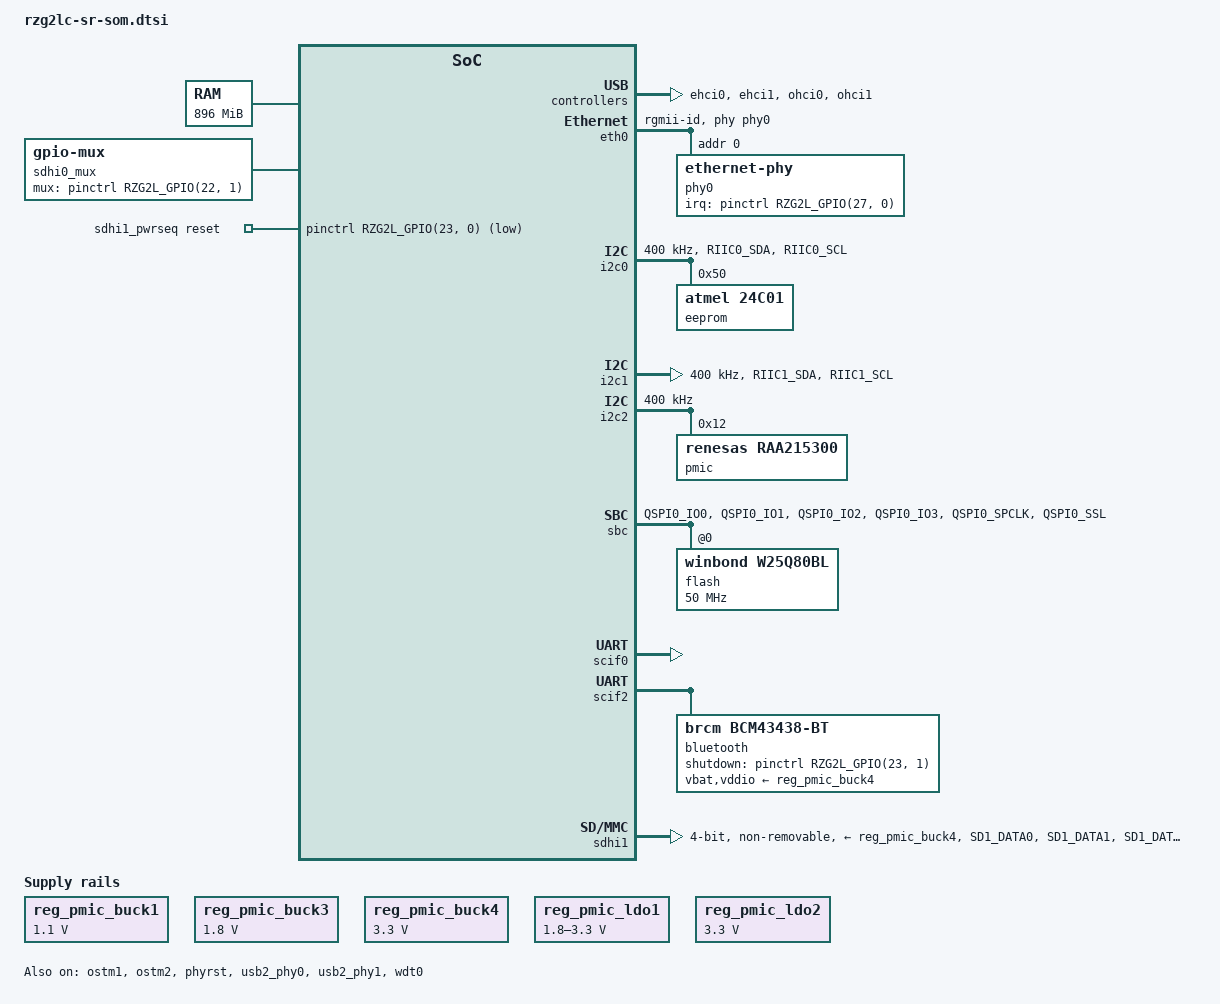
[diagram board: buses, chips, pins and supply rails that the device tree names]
// SPDX-License-Identifier: (GPL-2.0-only OR BSD-2-Clause)
/*
 * Device Tree Source for the RZ/G2LC Solidrun SOM
 *
 * Copyright 2023 SolidRun Ltd.
 * Copyright 2025 Josua Mayer <josua@solid-run.com>
 */

#include <dt-bindings/gpio/gpio.h>
#include <dt-bindings/pinctrl/rzg2l-pinctrl.h>

/ {
	aliases {
		ethernet0 = &eth0;
		i2c0 = &i2c0;
		i2c1 = &i2c1;
		i2c2 = &i2c2;
		mmc0 = &sdhi0;
		mmc1 = &sdhi1;
		rtc0 = &pmic;
		serial0 = &scif0;
		serial1 = &scif1;
		serial2 = &scif2;
	};

	chosen {
		stdout-path = "serial0:115200n8";
	};

	memory@48000000 {
		/*
		 * Physical RAM starts at 0x40000000, but Renesas RZ/G2 BSPs
		 * reserve and hide the first 128MB for TrustZone by default.
		 *
		 * Minimum size for this SoM is 1GB, and the bootloader patches
		 * the dtb according to the actual RAM size and reservations.
		 */
		reg = <0x0 0x48000000 0x0 0x38000000>;
		device_type = "memory";
	};

	sdhi0_mux: mux-controller-0 {
		compatible = "gpio-mux";
		#mux-control-cells = <0>;
		#mux-state-cells = <1>;
		/*
		 * Mux switches SD0_DATA[0-3], SD0_CMD & SD0_CLK between
		 * on-SoM eMMC and board-to-board connector using one gpio:
		 * High = connector, Low = eMMC.
		 * Define active-high for logical mux state 0 = eMMC, 1 = connector.
		 */
		mux-gpios = <&pinctrl RZG2L_GPIO(22, 1) GPIO_ACTIVE_HIGH>;
	};

	reg_pmic_buck1: regulator-pmic-buck1 {
		compatible = "regulator-fixed";
		regulator-name = "pmic-buck1";
		regulator-always-on;
		regulator-boot-on;
		regulator-max-microvolt = <1100000>;
		regulator-min-microvolt = <1100000>;
	};

	reg_pmic_buck3: regulator-pmic-buck3 {
		compatible = "regulator-fixed";
		regulator-name = "pmic-buck3";
		regulator-always-on;
		regulator-boot-on;
		regulator-max-microvolt = <1800000>;
		regulator-min-microvolt = <1800000>;
	};

	reg_pmic_buck4: regulator-pmic-buck4 {
		compatible = "regulator-fixed";
		regulator-name = "pmic-buck4";
		regulator-always-on;
		regulator-boot-on;
		regulator-max-microvolt = <3300000>;
		regulator-min-microvolt = <3300000>;
	};

	reg_pmic_ldo1: regulator-pmic-ldo1 {
		compatible = "regulator-gpio";
		regulator-name = "pmic-ldo1";
		gpios = <&pinctrl RZG2L_GPIO(39, 0) GPIO_ACTIVE_HIGH>;
		regulator-always-on;
		regulator-boot-on;
		regulator-max-microvolt = <3300000>;
		regulator-min-microvolt = <1800000>;
		states = <3300000 1>, <1800000 0>;
	};

	reg_pmic_ldo2: regulator-pmic-ldo2 {
		compatible = "regulator-fixed";
		regulator-name = "pmic-ldo2";
		/*
		 * This ldo can switch mmc host controller io voltage between
		 * 1.8V and 3.3V by assembly option of pull-up / pull-dow.
		 * Default assembly is 3.3V.
		 */
		regulator-min-microvolt = <3300000>;
		regulator-always-on;
		regulator-boot-on;
		regulator-max-microvolt = <3300000>;
	};

	reserved-memory {
		ranges;
		#address-cells = <2>;
		#size-cells = <2>;

		global_cma: linux,cma@58000000 {
			compatible = "shared-dma-pool";
			reg = <0x0 0x58000000 0x0 0x10000000>;
			reusable;
			linux,cma-default;
		};
	};

	sdhi1_pwrseq: sdhi1-pwrseq {
		compatible = "mmc-pwrseq-simple";
		reset-gpios = <&pinctrl RZG2L_GPIO(23, 0) GPIO_ACTIVE_LOW>;
	};

	/* 32.768kHz crystal */
	x2: x2-clock {
		compatible = "fixed-clock";
		#clock-cells = <0>;
		clock-frequency = <32768>;
	};
};

&ehci0 {
	status = "okay";
};

&ehci1 {
	status = "okay";
};

&eth0 {
	phy-handle = <&phy0>;
	pinctrl-0 = <&eth0_pins>;
	pinctrl-names = "default";
	/*
	 * ravb driver does not configure mac internal delays for RZ/G2L(C),
	 * instead delays are added by the ADIN1200 phy driver.
	 */
	phy-mode = "rgmii-id";
	status = "okay";

	phy0: ethernet-phy@0 {
		reg = <0>;
		/* Level interrupts are typical for phy but not supported on RZ/G2L gpios. */
		interrupts-extended = <&pinctrl RZG2L_GPIO(27, 0) IRQ_TYPE_EDGE_FALLING>;
	};
};

&extal_clk {
	clock-frequency = <24000000>;
};

&gpu {
	mali-supply = <&reg_pmic_buck1>;
};

&i2c0 {
	clock-frequency = <400000>;
	pinctrl-0 = <&i2c0_pins>;
	pinctrl-names = "default";
	status = "okay";

	eeprom: eeprom@50 {
		compatible = "atmel,24c01";
		reg = <0x50>;
		pagesize = <16>;
	};
};

&i2c1 {
	clock-frequency = <400000>;
	pinctrl-0 = <&i2c1_pins>;
	pinctrl-names = "default";
	status = "okay";
};

&i2c2 {
	clock-frequency = <400000>;
	pinctrl-0 = <&i2c2_pins>;
	pinctrl-names = "default";
	status = "okay";

	pmic: pmic@12 {
		compatible = "renesas,raa215300";
		reg = <0x12>, <0x6f>;
		reg-names = "main", "rtc";
		clocks = <&x2>;
		clock-names = "xin";
	};
};

&ohci0 {
	status = "okay";
};

&ohci1 {
	status = "okay";
};

&ostm1 {
	status = "okay";
};

&ostm2 {
	status = "okay";
};

&phyrst {
	status = "okay";
};

&pinctrl {
	eth0_pins: eth0 {
		pinmux = <RZG2L_PORT_PINMUX(28, 1, 1)>, /* ET0_LINKSTA */
			 <RZG2L_PORT_PINMUX(27, 1, 1)>, /* ET0_MDC */
			 <RZG2L_PORT_PINMUX(28, 0, 1)>, /* ET0_MDIO */
			 <RZG2L_PORT_PINMUX(20, 0, 1)>, /* ET0_TXC */
			 <RZG2L_PORT_PINMUX(20, 1, 1)>, /* ET0_TX_CTL */
			 <RZG2L_PORT_PINMUX(20, 2, 1)>, /* ET0_TXD0 */
			 <RZG2L_PORT_PINMUX(21, 0, 1)>, /* ET0_TXD1 */
			 <RZG2L_PORT_PINMUX(21, 1, 1)>, /* ET0_TXD2 */
			 <RZG2L_PORT_PINMUX(22, 0, 1)>, /* ET0_TXD3 */
			 <RZG2L_PORT_PINMUX(24, 0, 1)>, /* ET0_RXC */
			 <RZG2L_PORT_PINMUX(24, 1, 1)>, /* ET0_RX_CTL */
			 <RZG2L_PORT_PINMUX(25, 0, 1)>, /* ET0_RXD0 */
			 <RZG2L_PORT_PINMUX(25, 1, 1)>, /* ET0_RXD1 */
			 <RZG2L_PORT_PINMUX(26, 0, 1)>, /* ET0_RXD2 */
			 <RZG2L_PORT_PINMUX(26, 1, 1)>; /* ET0_RXD3 */
	};

	i2c0_pins: i2c0 {
		input-enable;
		pins = "RIIC0_SDA", "RIIC0_SCL";
	};

	i2c1_pins: i2c1 {
		input-enable;
		pins = "RIIC1_SDA", "RIIC1_SCL";
	};

	i2c2_pins: i2c2 {
		pinmux = <RZG2L_PORT_PINMUX(42, 3, 1)>, /* RIIC2_SDA */
			 <RZG2L_PORT_PINMUX(42, 4, 1)>; /* RIIC2_SCL */
	};

	qspi0_pins: qspi0 {
		pins = "QSPI0_IO0", "QSPI0_IO1", "QSPI0_IO2", "QSPI0_IO3",
		       "QSPI0_SPCLK", "QSPI0_SSL";
		power-source = <1800>;
	};

	scif0_pins: scif0 {
		pinmux = <RZG2L_PORT_PINMUX(38, 0, 1)>, /* SCIF0_TXD */
			 <RZG2L_PORT_PINMUX(38, 1, 1)>; /* SCIF0_RXD */
	};

	scif2_pins: scif2 {
		pinmux = <RZG2L_PORT_PINMUX(42, 0, 4)>, /* SCIF2_TXD */
			 <RZG2L_PORT_PINMUX(42, 1, 4)>, /* SCIF2_RXD */
			 <RZG2L_PORT_PINMUX(5, 1, 2)>, /* SCIF2_CTS# */
			 <RZG2L_PORT_PINMUX(5, 2, 2)>; /* SCIF2_RTS# */
	};

	sdhi0_4bit_pins: sdhi0-4bit {
		sd0-ctrl-dat03 {
			pins = "SD0_DATA0", "SD0_DATA1", "SD0_DATA2", "SD0_DATA3",
			       "SD0_CLK", "SD0_CMD";
			power-source = <3300>;
		};

		/*
		 * Pins 4-7 are hard-wired to eMMC with 1.8V IO voltage,
		 * with all pins sharing a single voltage domain.
		 *
		 * These pins are fixed-function lacking independently configurable
		 * pull-up, pull-down or output-disable.
		 *
		 * While unused, disable the input buffers to avoid sampling the still
		 * physically connected but unused eMMC lines.
		 * For output direction rely on correct controller bus-width configuration
		 * to avoid over-voltage to eMMC e.g. when operating at 3.3V for a 4-bit microSD.
		 */
		sd0-dat47 {
			input-disable;
			pins = "SD0_DATA4", "SD0_DATA5", "SD0_DATA6", "SD0_DATA7";
		};
	};

	sdhi0_4bit_uhs_pins: sdhi0-4bit-uhs {
		sd0-ctrl-dat03 {
			pins = "SD0_DATA0", "SD0_DATA1", "SD0_DATA2", "SD0_DATA3",
			       "SD0_CLK", "SD0_CMD";
			power-source = <1800>;
		};

		/*
		 * Pins 4-7 are hard-wired to eMMC with 1.8V IO voltage,
		 * with all pins sharing a single voltage domain.
		 *
		 * These pins are fixed-function, lacking configurable pull-up, pull-down or
		 * output-disable, while sharing the voltage domain with all SD0_* pins.
		 *
		 * While unused, disable the input buffers to avoid sampling the still
		 * physically connected but unused eMMC lines.
		 * For output direction rely on correct controller bus-width configuration
		 * to avoid over-voltage to eMMC e.g. when operating at 3.3V for a 4-bit microSD.
		 */
		sd0-dat47 {
			input-disable;
			pins = "SD0_DATA4", "SD0_DATA5", "SD0_DATA6", "SD0_DATA7";
		};
	};

	sdhi0_8bit_uhs_pins: sdhi0-8bit-uhs {
		sd0-ctrl {
			pins = "SD0_CLK", "SD0_CMD";
			power-source = <1800>;
		};

		sd0-dat {
			input-enable;
			pins = "SD0_DATA0", "SD0_DATA1", "SD0_DATA2", "SD0_DATA3",
			       "SD0_DATA4", "SD0_DATA5", "SD0_DATA6", "SD0_DATA7";
		};
	};

	sdhi0_cd_pins: sdhi0-cd {
		pinmux = <RZG2L_PORT_PINMUX(18, 0, 1)>; /* SD0_CD */
	};

	/* SD0_RST is only routed to eMMC which uses fixed 1.8V IO voltage */
	sdhi0_rst_pins: sdhi0-rst {
		pins = "SD0_RST#";
		power-source = <1800>;
	};

	sdhi1_pins: sdhi1 {
		pins = "SD1_DATA0", "SD1_DATA1", "SD1_DATA2", "SD1_DATA3",
		       "SD1_CLK", "SD1_CMD";
		power-source = <3300>;
	};

	spi1_pins: spi1 {
		pinmux = <RZG2L_PORT_PINMUX(44, 2, 1)>, /* RSPI1_MISO */
			 <RZG2L_PORT_PINMUX(44, 1, 1)>, /* RSPI1_MOSI */
			 <RZG2L_PORT_PINMUX(44, 0, 1)>; /* RSPI1_CK */
	};

	spi1_cs_pins: spi1-cs {
		pinmux = <RZG2L_PORT_PINMUX(44, 3, 1)>; /* RSPI1_SSL */
	};
};

&sbc {
	pinctrl-0 = <&qspi0_pins>;
	pinctrl-names = "default";
	status = "okay";

	flash@0 {
		compatible = "winbond,w25q80bl", "jedec,spi-nor";
		reg = <0>;
		spi-max-frequency = <50000000>;
		m25p,fast-read;
	};
};

&scif0 {
	pinctrl-0 = <&scif0_pins>;
	pinctrl-names = "default";
	status = "okay";
};

&scif2 {
	pinctrl-0 = <&scif2_pins>;
	pinctrl-names = "default";
	uart-has-rtscts;
	status = "okay";

	bluetooth {
		/*
		 * The BT is based on BCM4343A2. Murata 1YN variant seems to
		 * require driving RTS on open.
		 * Use compatible bcm43438 to accomplish this.
		 */
		compatible = "brcm,bcm43438-bt";
		max-speed = <115200>;
		shutdown-gpios = <&pinctrl RZG2L_GPIO(23, 1) GPIO_ACTIVE_HIGH>;
		vbat-supply = <&reg_pmic_buck4>;
		vddio-supply = <&reg_pmic_buck4>;
	};
};

/* WiFi */
&sdhi1 {
	/* Murata 1YN max rate is 50MHz */
	max-frequency = <50000000>;
	bus-width = <4>;
	cap-sdio-irq;
	mmc-pwrseq = <&sdhi1_pwrseq>;
	non-removable;
	no-1-8-v;
	no-sd;
	pinctrl-0 = <&sdhi1_pins>;
	pinctrl-names = "default";
	vmmc-supply = <&reg_pmic_buck4>;
	/*
	 * Host controller IO voltage is provided from reg_pmic_ldo2,
	 * WiFi module IO voltage from reg_pmic_buck4.
	 * Neither is configurable at run-time so either can be set here.
	 */
	vqmmc-supply = <&reg_pmic_ldo2>;
	status = "okay";
};

&usb2_phy0 {
	vbus-supply = <&usb0_vbus_otg>;
	status = "okay";
};

&usb2_phy1 {
	status = "okay";
};

&wdt0 {
	status = "okay";
};
